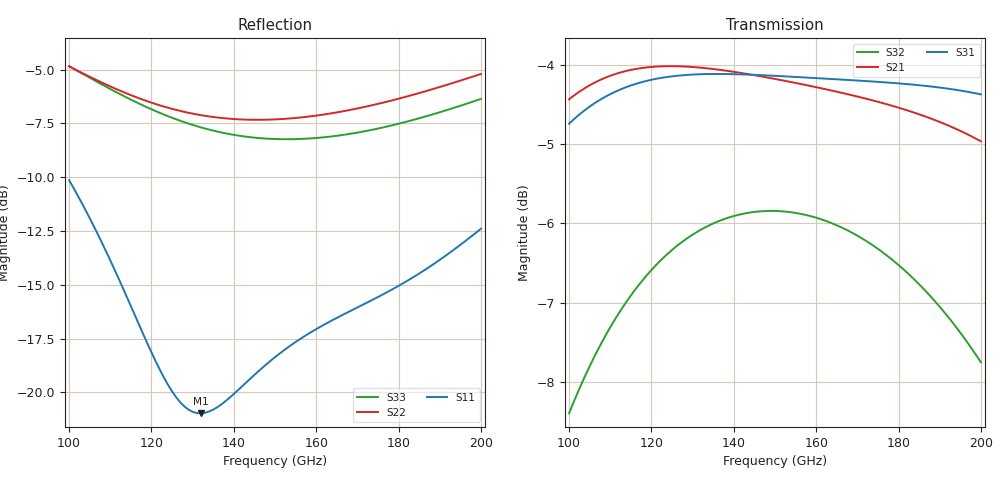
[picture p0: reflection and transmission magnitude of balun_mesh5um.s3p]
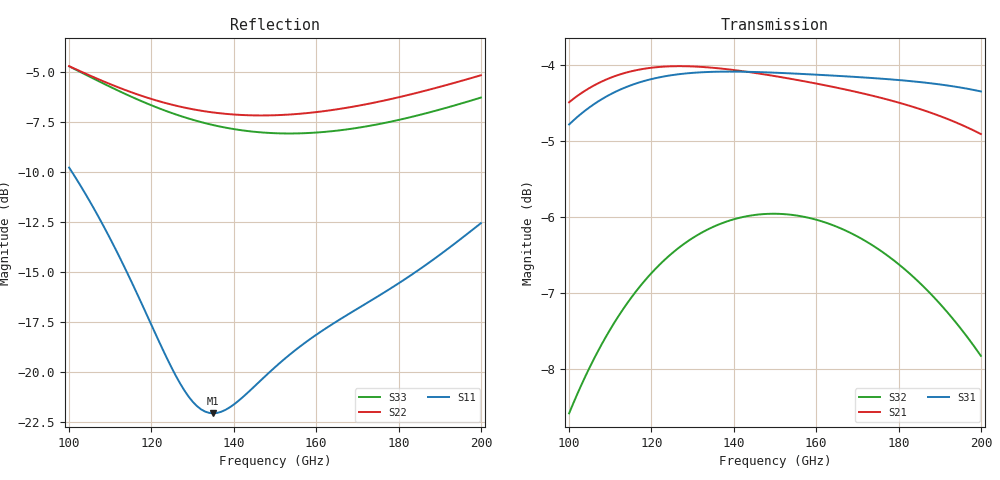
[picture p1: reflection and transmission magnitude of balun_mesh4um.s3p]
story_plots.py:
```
#!/usr/bin/env python
"""Plots and numbers for README.md (D-band balun mesh study).

Reads the de-embedded Touchstone files in results/snp/ and writes two figures
to results/plots/ (new files only, the plots of analyze_convergence.py are not
touched):

  story_uniform_inband.png   - balun figures of merit vs. frequency, uniform
                               mesh 5 -> 1 um, target band 140-170 GHz shaded
  story_best_answers.png     - 2 um working point vs. 1 um, 2 um/order 3, AMR
  story_accuracy_vs_cost.png - Max|dS| vs. the 1 um result, over solve time,
                               for all variants

It also prints the in-band numbers quoted in README.md.

Balun figures of merit (port 1 = input, ports 2/3 = balanced outputs):
  insertion loss   IL = -10*log10(|S21|^2 + |S31|^2)   power not delivered to either output
  amplitude imb.   20*log10(|S21| / |S31|)
  phase imbalance  180 deg - |angle(S21 / S31)|         0 deg = ideal anti-phase
"""
import os
import numpy as np
import skrf as rf
import matplotlib
matplotlib.use("Agg")
import matplotlib.pyplot as plt

HERE = os.path.dirname(os.path.abspath(__file__))
SNP_DIR = os.path.join(HERE, "snp")
PLOT_DIR = os.path.join(HERE, "plots")

BAND = (140e9, 170e9)

# uniform sweep, coarse -> fine; ordinal blue ramp, light -> dark
UNIFORM = [
    ("5 µm", "balun_mesh5um.s3p", "#86b6ef"),
    ("4 µm", "balun_mesh4um.s3p", "#5598e7"),
    ("3 µm", "balun_mesh3um.s3p", "#2a78d6"),
    ("2 µm", "balun_mesh2um.s3p", "#1c5cab"),
    ("1 µm", "balun_mesh1um.s3p", "#0d366b"),
]
ORDER3 = ("2 µm, order 3", "balun_mesh2um_order3.s3p")
AMR = ("AMR final", "balun_amr5_final.s3p")
REFERENCE = "balun_mesh1um.s3p"

# solve times in minutes, from the Palace logs of each run
SOLVE_MIN = {
    "balun_mesh5um.s3p": 1 + 42 / 60,
    "balun_mesh4um.s3p": 1 + 55 / 60,
    "balun_mesh3um.s3p": 2 + 16 / 60,
    "balun_mesh2um.s3p": 3 + 14 / 60,
    "balun_mesh1um.s3p": 7 + 11 / 60,
    "balun_mesh2um_order3.s3p": 12 + 10 / 60,
    # AMR: Palace reports elapsed time cumulatively, so the final value covers all 5 iterations
    "balun_amr5_final.s3p": 142 + 31 / 60,
}

INK = "#0b0b0b"
INK2 = "#52514e"
GRID = "#e4e3de"
ORANGE = "#eb6834"
AQUA = "#1baf7a"


def load(fname):
    return rf.Network(os.path.join(SNP_DIR, fname))


def merits(ntw):
    s21 = ntw.s[:, 1, 0]
    s31 = ntw.s[:, 2, 0]
    s11 = ntw.s[:, 0, 0]
    return {
        "IL": -10 * np.log10(np.abs(s21) ** 2 + np.abs(s31) ** 2),
        "S11": 20 * np.log10(np.abs(s11)),
        "amp": 20 * np.log10(np.abs(s21) / np.abs(s31)),
        "phase": 180 - np.abs(np.angle(s21 / s31, deg=True)),
    }


def style(ax):
    ax.grid(True, color=GRID, linewidth=0.8)
    ax.set_axisbelow(True)
    for side in ("top", "right"):
        ax.spines[side].set_visible(False)
    for side in ("left", "bottom"):
        ax.spines[side].set_color(INK2)
    ax.tick_params(colors=INK2, labelsize=9)
    ax.axvspan(BAND[0] / 1e9, BAND[1] / 1e9, color="#f1efe8", zorder=0)


def plot_uniform_inband():
    panels = [
        ("IL", "Insertion loss (dB)"),
        ("S11", "Input match |S11| (dB)"),
        ("amp", "Amplitude imbalance (dB)"),
        ("phase", "Phase imbalance (deg)"),
    ]
    fig, axes = plt.subplots(2, 2, figsize=(10, 6.6), sharex=True)
    for label, fname, color in UNIFORM:
        ntw = load(fname)
        f = ntw.f / 1e9
        m = merits(ntw)
        for ax, (key, _) in zip(axes.flat, panels):
            ax.plot(f, m[key], color=color, linewidth=2, label=label)
    for ax, (_, title) in zip(axes.flat, panels):
        style(ax)
        ax.set_title(title, loc="left", fontsize=11, color=INK)
    for ax in axes[1]:
        ax.set_xlabel("Frequency (GHz)", color=INK2)
    axes[0, 0].text(155, 0.97, "target band", transform=axes[0, 0].get_xaxis_transform(),
                    ha="center", va="top", fontsize=8, color=INK2)
    handles, labels = axes[0, 0].get_legend_handles_labels()
    fig.legend(handles, labels, loc="upper center", ncol=5, frameon=False, fontsize=9,
               title="refined_cellsize (uniform, order 2)", title_fontsize=9)
    fig.tight_layout(rect=(0, 0, 1, 0.92))
    out = os.path.join(PLOT_DIR, "story_uniform_inband.png")
    fig.savefig(out, dpi=130, facecolor="white")
    plt.close(fig)
    print("wrote", out)


def plot_best_answers():
    """2 um working point vs. the three most expensive runs, IL and S11 only."""
    series = [
        ("2 µm (working point)", "balun_mesh2um.s3p", "#86b6ef", "-"),
        ("1 µm", "balun_mesh1um.s3p", "#0d366b", "-"),
        (ORDER3[0], ORDER3[1], ORANGE, "--"),
        (AMR[0], AMR[1], AQUA, ":"),
    ]
    panels = [("IL", "Insertion loss (dB)"), ("S11", "Input match |S11| (dB)")]
    fig, axes = plt.subplots(1, 2, figsize=(10, 3.8), sharex=True)
    for label, fname, color, ls in series:
        ntw = load(fname)
        m = merits(ntw)
        for ax, (key, _) in zip(axes, panels):
            ax.plot(ntw.f / 1e9, m[key], color=color, linewidth=2, linestyle=ls, label=label)
    for ax, (_, title) in zip(axes, panels):
        style(ax)
        ax.set_title(title, loc="left", fontsize=11, color=INK)
        ax.set_xlabel("Frequency (GHz)", color=INK2)
    handles, labels = axes[0].get_legend_handles_labels()
    fig.legend(handles, labels, loc="upper center", ncol=4, frameon=False, fontsize=9)
    fig.tight_layout(rect=(0, 0, 1, 0.9))
    out = os.path.join(PLOT_DIR, "story_best_answers.png")
    fig.savefig(out, dpi=130, facecolor="white")
    plt.close(fig)
    print("wrote", out)


def plot_accuracy_vs_cost():
    ref = load(REFERENCE)
    fig, ax = plt.subplots(figsize=(8, 4.6))
    style(ax)
    ax.patches[-1].remove()  # no band shading on a time axis

    xs, ys = [], []
    for label, fname, color in UNIFORM[:-1]:
        d = np.abs(load(fname).s - ref.s).max()
        xs.append(SOLVE_MIN[fname])
        ys.append(d)
    ax.plot(xs, ys, color="#2a78d6", linewidth=2, marker="o", markersize=8, zorder=3,
            label="uniform mesh, order 2")
    for (label, _, _), x, y in zip(UNIFORM[:-1], xs, ys):
        ax.annotate(label, (x, y), textcoords="offset points", xytext=(8, 4), fontsize=9, color=INK)

    for (label, fname), color, marker in ((ORDER3, ORANGE, "s"), (AMR, AQUA, "D")):
        d = np.abs(load(fname).s - ref.s).max()
        ax.plot([SOLVE_MIN[fname]], [d], color=color, marker=marker, markersize=9,
                linestyle="none", zorder=3, label=label)
        ax.annotate(label, (SOLVE_MIN[fname], d), textcoords="offset points",
                    xytext=(8, 4), fontsize=9, color=INK)

    ax.axvline(SOLVE_MIN[REFERENCE], color=INK2, linewidth=1, linestyle=":")
    ax.text(SOLVE_MIN[REFERENCE], 0.112, " 1 µm reference run (7 min)", fontsize=8, color=INK2,
            va="top")

    ax.set_xscale("log")
    ax.set_xlim(1, 400)
    ax.set_ylim(0, 0.115)
    ax.set_xticks([1, 2, 5, 10, 20, 50, 100, 200])
    ax.set_xticklabels(["1", "2", "5", "10", "20", "50", "100", "200"])
    ax.set_xlabel("Solve time (min, log scale; AMR = all 5 iterations)", color=INK2)
    ax.set_ylabel("Max |ΔS| vs. 1 µm result", color=INK2)
    ax.legend(frameon=False, fontsize=9, loc="upper right", bbox_to_anchor=(1.0, 0.9))
    fig.tight_layout()
    out = os.path.join(PLOT_DIR, "story_accuracy_vs_cost.png")
    fig.savefig(out, dpi=130, facecolor="white")
    plt.close(fig)
    print("wrote", out)


def print_numbers():
    ref = load(REFERENCE)
    rows = [(l, f) for l, f, _ in UNIFORM] + [ORDER3, AMR]
    print()
    print("In-band (140-170 GHz) figures of merit; worst case over the band")
    print(f"{'variant':15s} {'IL min..max':>14s} {'S11 max':>8s} {'|amp| max':>9s} {'phase max':>9s} {'MaxdS vs 1um':>12s}")
    for label, fname in rows:
        ntw = load(fname)
        band = (ntw.f >= BAND[0]) & (ntw.f <= BAND[1])
        m = merits(ntw)
        d = np.abs(ntw.s - ref.s).max()
        print(f"{label:15s} {m['IL'][band].min():6.2f}..{m['IL'][band].max():5.2f} "
              f"{m['S11'][band].max():8.1f} {np.abs(m['amp'][band]).max():9.2f} "
              f"{m['phase'][band].max():9.1f} {d:12.4f}")
    # mutual agreement of the three most expensive answers
    print()
    print("Mutual Max|dS| of the three best answers:")
    best = {"1 µm": REFERENCE, ORDER3[0]: ORDER3[1], AMR[0]: AMR[1]}
    names = list(best)
    for i in range(len(names)):
        for j in range(i + 1, len(names)):
            d = np.abs(load(best[names[i]]).s - load(best[names[j]]).s).max()
            print(f"  {names[i]} vs {names[j]}: {d:.4f}")


if __name__ == "__main__":
    os.makedirs(PLOT_DIR, exist_ok=True)
    plot_uniform_inband()
    plot_best_answers()
    plot_accuracy_vs_cost()
    print_numbers()
```
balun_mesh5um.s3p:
! Created with skrf 2.1.0 (http://scikit-rf.org).
# GHz S DB R 50.0
! Port[1] = P1
! Port[2] = P2
! Port[3] = P3
!freq dBS11 angS11 dBS12 angS12 dBS13 angS13
! dBS21 angS21 dBS22 angS22 dBS23 angS23
! dBS31 angS31 dBS32 angS32 dBS33 angS33
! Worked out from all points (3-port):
!   101 points, 100 GHz to 200 GHz, reference 50 ohm
!   strongest paths, dB at 100 GHz, 125 GHz, 150 GHz, 175 GHz, 200 GHz:
!     S31: -4.7, -4.1, -4.1, -4.2, -4.4
!     S21: -4.4, -4.0, -4.2, -4.5, -5.0
!     S32: -8.4, -6.3, -5.8, -6.3, -7.7
!   lowest |S11| = -21.0 dB at 132 GHz (marker M1), VSWR 1.20, Z = 41.9 + j1.67 ohm
!   |S11| at or under -10 dB: start of sweep to end of sweep
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100  -10.14 132.3  -4.43 -16.0  -4.74 159.5
     -4.43 -16.0  -4.85 60.0  -8.39 88.9
     -4.74 159.5  -8.39 88.9  -4.84 48.8
124  -19.64 143.4  -4.02 -52.0  -4.15 121.0
     -4.02 -52.0  -6.77 40.8  -6.38 52.5
     -4.15 121.0  -6.38 52.5  -7.16 25.6
132  -20.97 167.2  -4.04 -62.6  -4.12 109.6
     -4.04 -62.6  -7.12 35.3  -6.08 41.6
     -4.12 109.6  -6.08 41.6  -7.68 19.2
164  -16.64 -157.2  -4.33 -101.4  -4.18 68.1
     -4.33 -101.4  -7.02 11.2  -6.00 1.6
     -4.18 68.1  -6.00 1.6  -8.10 -5.3
200  -12.40 -150.8  -4.96 -144.2  -4.37 23.1
     -4.96 -144.2  -5.21 -23.0  -7.75 -40.7
     -4.37 23.1  -7.75 -40.7  -6.36 -37.5
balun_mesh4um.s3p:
! Created with skrf 2.1.0 (http://scikit-rf.org).
# GHz S DB R 50.0
! Port[1] = P1
! Port[2] = P2
! Port[3] = P3
!freq dBS11 angS11 dBS12 angS12 dBS13 angS13
! dBS21 angS21 dBS22 angS22 dBS23 angS23
! dBS31 angS31 dBS32 angS32 dBS33 angS33
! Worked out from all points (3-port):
!   101 points, 100 GHz to 200 GHz, reference 50 ohm
!   strongest paths, dB at 100 GHz, 125 GHz, 150 GHz, 175 GHz, 200 GHz:
!     S31: -4.8, -4.1, -4.1, -4.2, -4.4
!     S21: -4.5, -4.0, -4.2, -4.4, -4.9
!     S32: -8.6, -6.5, -6.0, -6.4, -7.8
!   lowest |S11| = -22.0 dB at 135 GHz (marker M1), VSWR 1.17, Z = 42.8 + j1.56 ohm
!   |S11| at or under -10 dB: 100.8 GHz to end of sweep
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100  -9.76 131.8  -4.49 -15.1  -4.79 160.5
     -4.49 -15.1  -4.69 59.9  -8.58 89.5
     -4.79 160.5  -8.58 89.5  -4.69 48.7
127  -20.57 141.2  -4.02 -55.3  -4.12 117.5
     -4.02 -55.3  -6.71 38.2  -6.39 49.0
     -4.12 117.5  -6.39 49.0  -7.17 22.6
135  -22.05 166.8  -4.04 -65.8  -4.09 106.3
     -4.04 -65.8  -7.00 32.7  -6.13 38.2
     -4.09 106.3  -6.13 38.2  -7.63 16.4
165  -17.45 -153.6  -4.30 -102.1  -4.15 67.5
     -4.30 -102.1  -6.85 10.1  -6.13 1.0
     -4.15 67.5  -6.13 1.0  -7.91 -6.6
200  -12.54 -147.6  -4.91 -143.8  -4.35 23.6
     -4.91 -143.8  -5.14 -22.7  -7.82 -40.1
     -4.35 23.6  -7.82 -40.1  -6.26 -37.5
